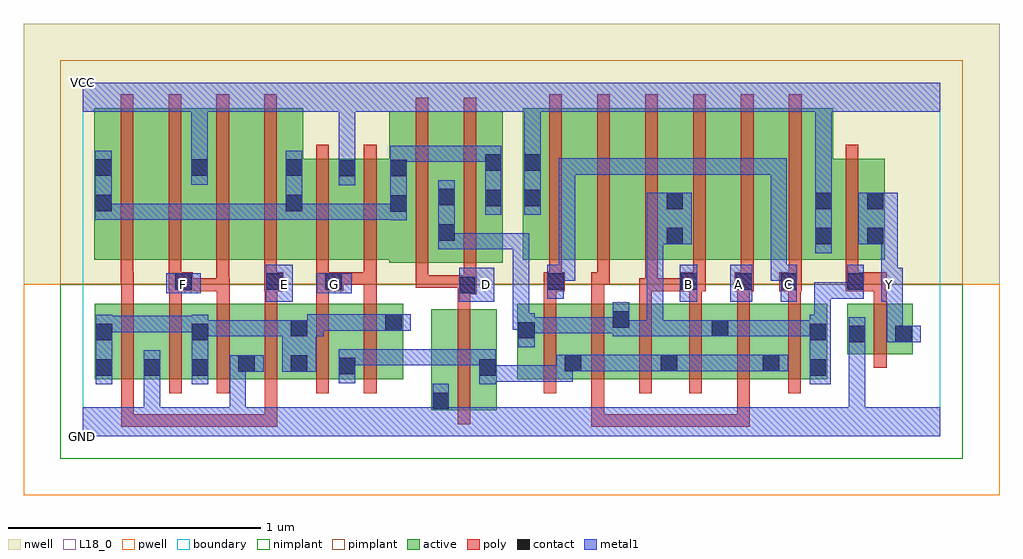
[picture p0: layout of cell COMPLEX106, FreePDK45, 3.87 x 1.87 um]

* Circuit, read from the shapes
.subckt COMPLEX106 A B C D E F G GND VCC Y
M1 GND E n1 VSUBS nfet w=0.3u l=0.05u m=2
M2 n1 F GND VSUBS nfet w=0.3u l=0.05u m=2
M3 n2 G n1 VSUBS nfet w=0.3u l=0.05u m=2
M4 n2 D GND VSUBS nfet w=0.4u l=0.05u
M5 n2 C n3 VSUBS nfet w=0.3u l=0.05u m=2
M6 n3 A n2 VSUBS nfet w=0.3u l=0.05u m=2
M7 n2 B n3 VSUBS nfet w=0.3u l=0.05u m=2
M8 Y n3 GND VSUBS nfet w=0.2u l=0.05u
M9 n4 E n5 n6 pfet w=0.6u l=0.05u
M10 VCC F n4 n6 pfet w=0.6u l=0.05u
M11 n7 F VCC n6 pfet w=0.6u l=0.05u
M12 n5 E n7 n6 pfet w=0.6u l=0.05u
M13 VCC G n5 n6 pfet w=0.4u l=0.05u m=2
M14 n3 D n5 n6 pfet w=0.6u l=0.05u m=2
M15 n8 C VCC n6 pfet w=0.6u l=0.05u
M16 n9 A n8 n6 pfet w=0.6u l=0.05u
M17 n3 B n9 n6 pfet w=0.6u l=0.05u
M18 n10 B n3 n6 pfet w=0.6u l=0.05u
M19 n11 A n10 n6 pfet w=0.6u l=0.05u
M20 VCC C n11 n6 pfet w=0.6u l=0.05u
M21 Y n3 VCC n6 pfet w=0.4u l=0.05u
.ends

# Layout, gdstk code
import gdstk
lib = gdstk.Library(unit=1e-6, precision=1e-09)
def R(c, l, rs):  # rectangles x0, y0, x1, y1
    for r in rs: c.add(gdstk.rectangle(r[:2], r[2:], *l))
def A(c, l, x, y, w, h, nx, ny, dx, dy):  # array of equal rectangles
    R(c, l, [(x+i*dx, y+j*dy, x+i*dx+w, y+j*dy+h) for i in range(nx) for j in range(ny)])
active = (1, 0)
pwell = (2, 0)
nwell = (3, 0)
nimplant = (4, 0)
pimplant = (5, 0)
poly = (9, 0)
contact = (10, 0)
metal1 = (11, 0)
L18_0 = (18, 0)
boundary = (235, 0)

complex106 = lib.new_cell('COMPLEX106')
R(complex106, active, [(1.382,0.102,1.642,0.502), (1.382,0.102,1.457,0.502), (1.567,0.147,1.642,0.502), (0.047,0.225,0.122,0.525), (0.047,0.225,0.312,0.525), (0.237,0.225,0.502,0.525), (0.237,0.225,0.312,0.437), (0.427,0.225,0.687,0.525), (0.427,0.225,0.502,0.517), (0.612,0.225,0.895,0.525), (0.612,0.225,0.687,0.437), (0.82,0.225,0.895,0.525), (0.82,0.225,1.085,0.525), (1.01,0.225,1.27,0.525), (1.01,0.225,1.085,0.405), (1.722,0.225,1.982,0.525), (1.907,0.225,2.172,0.525), (1.907,0.225,1.982,0.405), (2.097,0.225,2.362,0.525), (2.287,0.225,2.565,0.525), (2.287,0.225,2.362,0.517), (2.49,0.225,2.767,0.525), (2.692,0.225,2.952,0.525), (2.692,0.225,2.767,0.392), (2.877,0.225,2.952,0.525), (1.195,0.247,1.27,0.525), (1.722,0.247,1.797,0.525), (2.097,0.247,2.172,0.5), (2.49,0.247,2.565,0.465), (3.032,0.325,3.292,0.525), (3.032,0.325,3.107,0.525), (3.217,0.332,3.292,0.525), (1.215,0.687,1.48,1.287), (1.405,0.687,1.665,1.287), (1.59,0.687,1.665,1.2), (0.045,0.7,0.27,1.3), (0.045,0.7,0.15,1.2), (0.27,0.7,0.5,1.3), (0.425,0.7,0.65,1.3), (0.65,0.7,0.875,1.3), (0.8,0.7,0.875,1.2), (0.8,0.7,1.085,1.1), (1.01,0.7,1.29,1.1), (1.215,0.7,1.29,1.2), (1.745,0.7,1.97,1.3), (1.745,0.7,1.82,1.267), (1.97,0.7,2.16,1.3), (2.16,0.7,2.385,1.3), (2.31,0.7,2.54,1.3), (2.54,0.7,2.73,1.3), (2.73,0.7,2.975,1.3), (2.9,0.7,3.18,1.1), (3.105,0.7,3.18,1.057), (0.425,0.707,0.5,1.267), (1.405,0.707,1.48,1.07), (2.31,0.707,2.385,1.07), (2.9,0.755,2.975,1.057), (1.01,0.822,1.085,1.1)])
R(complex106, pwell, [(-0.235,-0.235,3.635,0.602)])
R(complex106, nwell, [(-0.235,0.602,3.635,1.635)])
R(complex106, nimplant, [(-0.09,-0.09,3.49,0.602)])
R(complex106, pimplant, [(-0.09,0.602,3.49,1.49)])
A(complex106, poly, 0.152, 0.17, 0.05, 0.41, 4, 1, 0.19, 0)
A(complex106, poly, 1.827, 0.17, 0.05, 0.41, 3, 1, 0.19, 0)
A(complex106, poly, 0.342, 0.53, 0.05, 0.095, 3, 1, 0.19, 0)
A(complex106, poly, 2.42, 0.6, 0.05, 0.095, 3, 1, 0.19, 0)
A(complex106, poly, 0.15, 0.645, 0.05, 0.71, 4, 1, 0.19, 0)
A(complex106, poly, 1.85, 0.645, 0.05, 0.71, 6, 1, 0.19, 0)
R(complex106, poly, [(0.152,0.037,0.202,0.22), (0.152,0.037,0.202,0.087), (0.152,0.037,0.202,0.087), (0.152,0.037,0.202,0.087), (0.152,0.037,0.335,0.087), (0.285,0.037,0.335,0.087), (0.285,0.037,0.637,0.087), (0.587,0.037,0.637,0.087), (0.587,0.037,0.637,0.087), (0.587,0.037,0.637,0.087), (0.587,0.037,0.772,0.087), (0.722,0.037,0.772,0.22), (0.722,0.037,0.772,0.087), (0.722,0.037,0.772,0.087), (0.722,0.037,0.772,0.087), (2.017,0.037,2.067,0.22), (2.017,0.037,2.067,0.087), (2.017,0.037,2.067,0.087), (2.017,0.037,2.067,0.087), (2.017,0.037,2.285,0.087), (2.235,0.037,2.285,0.087), (2.235,0.037,2.417,0.087), (2.367,0.037,2.417,0.087), (2.367,0.037,2.417,0.087), (2.367,0.037,2.417,0.087), (2.367,0.037,2.645,0.087), (2.595,0.037,2.645,0.22), (2.595,0.037,2.645,0.087), (2.595,0.037,2.645,0.087), (2.595,0.037,2.645,0.087), (1.487,0.047,1.537,0.557), (0.925,0.17,0.975,0.58), (1.115,0.17,1.165,0.58), (2.405,0.17,2.455,0.58), (2.595,0.17,2.645,0.58), (2.797,0.17,2.847,0.58), (3.137,0.27,3.187,0.58), (1.487,0.507,1.537,0.612), (0.152,0.53,0.202,0.65), (0.925,0.53,0.975,0.625), (1.115,0.53,1.165,0.65), (1.827,0.53,1.877,0.625), (2.017,0.53,2.067,0.65), (2.207,0.53,2.257,0.625), (2.405,0.53,2.455,0.625), (2.595,0.53,2.645,0.625), (2.797,0.53,2.847,0.625), (3.137,0.53,3.187,0.625), (1.487,0.562,1.562,0.637), (0.34,0.575,0.437,0.65), (0.387,0.575,0.437,0.625), (0.387,0.575,0.437,0.625), (0.387,0.575,0.58,0.625), (0.53,0.575,0.58,0.695), (0.53,0.575,0.582,0.625), (0.72,0.575,0.795,0.65), (0.925,0.575,1.032,0.65), (1.827,0.575,1.912,0.65), (2.207,0.575,2.28,0.625), (2.23,0.575,2.28,0.625), (2.23,0.575,2.28,0.625), (2.23,0.575,2.417,0.625), (2.23,0.575,2.28,0.695), (2.367,0.575,2.47,0.65), (2.585,0.575,2.66,0.65), (2.762,0.575,2.85,0.65), (3.025,0.575,3.187,0.65), (1.32,0.587,1.37,0.682), (1.32,0.587,1.37,0.637), (1.32,0.587,1.37,0.637), (1.32,0.587,1.37,0.637), (1.32,0.587,1.537,0.637), (1.51,0.587,1.56,0.682), (0.15,0.6,0.2,0.695), (0.15,0.6,0.202,0.65), (0.34,0.6,0.39,0.695), (0.72,0.6,0.77,0.695), (0.925,0.6,0.975,0.695), (0.982,0.6,1.032,0.65), (0.982,0.6,1.032,0.65), (0.982,0.6,1.165,0.65), (1.115,0.6,1.165,0.695), (1.115,0.6,1.165,0.65), (1.85,0.6,1.9,0.695), (2.017,0.6,2.09,0.65), (2.04,0.6,2.09,0.695), (3.025,0.6,3.075,0.695), (1.32,0.632,1.37,1.342), (1.51,0.632,1.56,1.342), (0.925,0.645,0.975,1.155), (1.115,0.645,1.165,1.155), (3.025,0.645,3.075,1.155)])
A(complex106, contact, 0.052, 0.24, 0.065, 0.065, 3, 1, 0.19, 0)
R(complex106, contact, [(1.387,0.107,1.452,0.172), (1.572,0.24,1.637,0.305), (2.882,0.24,2.947,0.305), (1.015,0.245,1.08,0.31), (0.617,0.255,0.682,0.32), (0.825,0.255,0.89,0.32), (1.912,0.257,1.977,0.322), (2.292,0.257,2.357,0.322), (2.697,0.257,2.762,0.322), (3.037,0.372,3.102,0.437), (3.222,0.372,3.287,0.437), (0.052,0.38,0.117,0.445), (0.432,0.38,0.497,0.445), (2.882,0.38,2.947,0.445), (1.727,0.387,1.792,0.452), (0.825,0.395,0.89,0.46), (2.495,0.395,2.56,0.46), (1.2,0.417,1.265,0.482), (2.102,0.43,2.167,0.495), (1.492,0.567,1.557,0.632), (0.367,0.58,0.432,0.645), (0.725,0.58,0.79,0.645), (0.962,0.58,1.027,0.645), (1.842,0.58,1.907,0.645), (2.372,0.58,2.437,0.645), (2.59,0.58,2.655,0.645), (2.767,0.58,2.832,0.645), (3.032,0.58,3.097,0.645), (2.315,0.76,2.38,0.825), (2.905,0.76,2.97,0.825), (3.11,0.76,3.175,0.825), (1.41,0.775,1.475,0.84), (1.22,0.89,1.285,0.955), (0.05,0.892,0.115,0.957), (0.805,0.892,0.87,0.957), (2.315,0.9,2.38,0.965), (2.905,0.9,2.97,0.965), (3.11,0.9,3.175,0.965), (1.595,0.912,1.66,0.977), (1.75,0.912,1.815,0.977), (1.41,0.915,1.475,0.98), (1.015,1.03,1.08,1.095), (1.22,1.03,1.285,1.095), (0.05,1.032,0.115,1.097), (0.43,1.032,0.495,1.097), (0.805,1.032,0.87,1.097), (1.595,1.052,1.66,1.117), (1.75,1.052,1.815,1.117)])
R(complex106, metal1, [(0,0,3.4,0.115), (0.242,0.05,0.307,0.115), (0.242,0.05,0.307,0.115), (0.242,0.05,0.307,0.27), (0.582,0.05,0.647,0.32), (1.387,0.05,1.452,0.137), (3.037,0.05,3.102,0.115), (3.037,0.05,3.102,0.115), (3.037,0.05,3.102,0.402), (1.387,0.072,1.452,0.207), (0.052,0.205,0.117,0.48), (0.242,0.205,0.307,0.34), (0.432,0.205,0.497,0.48), (1.572,0.205,1.637,0.34), (2.882,0.205,2.965,0.48), (1.015,0.21,1.08,0.345), (1.572,0.215,1.805,0.28), (1.74,0.215,1.805,0.28), (1.74,0.215,1.942,0.28), (1.877,0.215,1.942,0.322), (0.582,0.255,0.717,0.32), (0.582,0.255,0.647,0.32), (0.582,0.255,0.647,0.32), (0.79,0.255,0.925,0.46), (1.877,0.257,2.012,0.322), (1.877,0.257,1.942,0.322), (1.947,0.257,2.15,0.322), (2.085,0.257,2.15,0.322), (2.085,0.257,2.15,0.322), (2.085,0.257,2.15,0.322), (2.085,0.257,2.295,0.322), (2.23,0.257,2.295,0.322), (2.23,0.257,2.322,0.322), (2.257,0.257,2.392,0.322), (2.327,0.257,2.432,0.322), (2.367,0.257,2.432,0.322), (2.367,0.257,2.59,0.322), (2.525,0.257,2.59,0.322), (2.525,0.257,2.59,0.322), (2.525,0.257,2.59,0.322), (2.525,0.257,2.727,0.322), (2.662,0.257,2.797,0.322), (1.572,0.275,1.637,0.34), (1.572,0.275,1.637,0.345), (1.015,0.28,1.13,0.345), (1.065,0.28,1.13,0.345), (1.065,0.28,1.3,0.345), (1.235,0.28,1.3,0.345), (1.235,0.28,1.3,0.345), (1.235,0.28,1.3,0.345), (1.235,0.28,1.437,0.345), (1.372,0.28,1.437,0.345), (1.372,0.28,1.637,0.345), (3.037,0.337,3.102,0.472), (3.037,0.337,3.102,0.402), (3.037,0.337,3.102,0.402), (1.727,0.352,1.792,0.487), (3.187,0.372,3.252,0.597), (3.187,0.372,3.322,0.437), (0.432,0.395,0.497,0.46), (0.432,0.395,0.497,0.46), (0.432,0.395,0.717,0.46), (0.652,0.395,0.717,0.46), (0.652,0.395,0.717,0.46), (0.652,0.395,0.717,0.46), (0.652,0.395,0.855,0.46), (0.86,0.395,0.955,0.46), (0.89,0.395,0.955,0.482), (2.102,0.395,2.167,0.53), (2.102,0.395,2.295,0.46), (2.23,0.395,2.295,0.46), (2.23,0.395,2.302,0.46), (2.237,0.395,2.302,0.46), (2.237,0.395,2.452,0.46), (2.237,0.395,2.302,0.825), (2.387,0.395,2.452,0.46), (2.387,0.395,2.525,0.46), (2.46,0.395,2.595,0.46), (2.53,0.395,2.595,0.46), (2.53,0.395,2.595,0.46), (2.53,0.395,2.81,0.46), (2.745,0.395,2.81,0.46), (2.745,0.395,2.81,0.46), (2.745,0.395,2.81,0.46), (2.745,0.395,2.947,0.46), (1.727,0.407,2.012,0.472), (1.947,0.407,2.012,0.472), (1.947,0.407,2.012,0.472), (1.947,0.407,2.012,0.472), (1.947,0.407,2.15,0.472), (2.085,0.407,2.15,0.472), (2.085,0.407,2.167,0.472), (0.052,0.412,0.117,0.477), (0.052,0.412,0.117,0.477), (0.052,0.412,0.255,0.477), (0.19,0.412,0.255,0.477), (0.19,0.412,0.255,0.477), (0.19,0.412,0.255,0.477), (0.19,0.412,0.497,0.477), (2.9,0.415,2.965,0.61), (0.89,0.417,1.092,0.482), (1.027,0.417,1.092,0.482), (1.027,0.417,1.092,0.482), (1.027,0.417,1.092,0.482), (1.027,0.417,1.23,0.482), (1.165,0.417,1.3,0.482), (1.705,0.422,1.77,0.487), (1.705,0.422,1.77,0.487), (1.705,0.422,1.77,0.487), (1.705,0.422,1.792,0.487), (1.705,0.422,1.77,0.805), (0.725,0.532,0.832,0.68), (1.492,0.532,1.632,0.667), (2.367,0.532,2.437,0.68), (2.567,0.532,2.655,0.68), (2.767,0.532,2.832,0.68), (3.167,0.532,3.252,0.667), (1.842,0.545,1.907,0.68), (2.9,0.545,3.002,0.61), (2.9,0.545,2.965,0.61), (2.937,0.545,3.097,0.61), (2.937,0.545,3.002,0.61), (3.032,0.545,3.097,0.68), (0.332,0.567,0.467,0.645), (0.927,0.567,1.067,0.645), (3.167,0.602,3.232,0.825), (1.842,0.615,1.952,0.68), (1.887,0.615,1.952,0.68), (1.887,0.615,1.952,1.102), (2.727,0.615,2.792,0.68), (2.727,0.615,2.832,0.68), (2.727,0.615,2.792,1.102), (2.905,0.725,2.97,1), (1.41,0.74,1.475,0.805), (1.41,0.74,1.475,0.805), (1.41,0.74,1.475,1.015), (1.41,0.74,1.77,0.805), (1.705,0.74,1.77,0.805), (2.237,0.76,2.302,0.825), (2.237,0.76,2.302,0.825), (2.237,0.76,2.415,0.965), (3.075,0.76,3.232,0.965), (1.22,0.855,1.285,1.13), (0.05,0.857,0.115,0.922), (0.05,0.857,0.115,0.922), (0.05,0.857,0.115,1.132), (0.05,0.857,0.255,0.922), (0.19,0.857,0.255,0.922), (0.19,0.857,0.255,0.922), (0.19,0.857,0.255,0.922), (0.19,0.857,0.392,0.922), (0.327,0.857,0.392,0.922), (0.327,0.857,0.392,0.922), (0.327,0.857,0.392,0.922), (0.327,0.857,0.717,0.922), (0.652,0.857,0.717,0.922), (0.652,0.857,0.717,0.922), (0.652,0.857,0.717,0.922), (0.652,0.857,0.87,0.922), (0.805,0.857,0.87,0.922), (0.805,0.857,0.87,0.922), (0.805,0.857,0.87,1.132), (0.805,0.857,1.092,0.922), (1.027,0.857,1.092,0.922), (1.027,0.857,1.092,0.922), (1.027,0.857,1.092,0.922), (1.027,0.857,1.285,0.922), (1.595,0.877,1.66,1.152), (1.75,0.877,1.815,1.152), (2.905,0.935,2.97,1.35), (1.015,0.995,1.08,1.13), (0.43,0.997,0.495,1.132), (1.887,1.037,1.952,1.102), (1.887,1.037,2.15,1.102), (2.085,1.037,2.15,1.102), (2.085,1.037,2.15,1.102), (2.085,1.037,2.15,1.102), (2.085,1.037,2.15,1.102), (2.085,1.037,2.15,1.102), (2.085,1.037,2.287,1.102), (2.222,1.037,2.287,1.102), (2.222,1.037,2.387,1.102), (2.322,1.037,2.387,1.102), (2.322,1.037,2.432,1.102), (2.367,1.037,2.432,1.102), (2.367,1.037,2.59,1.102), (2.525,1.037,2.59,1.102), (2.525,1.037,2.59,1.102), (2.525,1.037,2.59,1.102), (2.525,1.037,2.59,1.102), (2.525,1.037,2.59,1.102), (2.525,1.037,2.792,1.102), (2.727,1.037,2.792,1.102), (1.015,1.065,1.08,1.13), (1.015,1.065,1.08,1.13), (1.015,1.065,1.08,1.35), (1.22,1.065,1.285,1.152), (0.43,1.067,0.495,1.35), (1.22,1.087,1.285,1.152), (1.22,1.087,1.285,1.152), (1.22,1.087,1.285,1.152), (1.22,1.087,1.5,1.152), (1.435,1.087,1.5,1.152), (1.435,1.087,1.655,1.152), (1.59,1.087,1.655,1.152), (1.59,1.087,1.66,1.152), (1.75,1.087,1.815,1.35), (0,1.285,3.4,1.4)])
A(complex106, L18_0, 2.367, 0.567, 0.065, 0.065, 3, 1, 0.2, 0)
R(complex106, L18_0, [(0,0,3.4,0.115), (0.242,0.05,0.307,0.115), (0.242,0.05,0.307,0.115), (0.242,0.05,0.307,0.27), (0.582,0.05,0.647,0.32), (1.387,0.05,1.452,0.137), (3.037,0.05,3.102,0.115), (3.037,0.05,3.102,0.115), (3.037,0.05,3.102,0.402), (1.387,0.072,1.452,0.207), (0.242,0.205,0.307,0.34), (0.582,0.255,0.647,0.32), (0.582,0.255,0.647,0.32), (0.582,0.255,0.717,0.32), (3.037,0.337,3.102,0.402), (3.037,0.337,3.102,0.402), (3.037,0.337,3.102,0.472), (3.187,0.372,3.322,0.437), (3.187,0.372,3.252,0.597), (0.725,0.532,0.832,0.68), (1.492,0.532,1.632,0.667), (2.367,0.532,2.437,0.68), (2.567,0.532,2.655,0.68), (2.767,0.532,2.832,0.68), (3.167,0.532,3.252,0.667), (1.842,0.545,1.907,0.68), (0.332,0.567,0.467,0.645), (0.367,0.567,0.432,0.632), (0.767,0.567,0.832,0.632), (0.927,0.567,1.067,0.645), (0.967,0.567,1.032,0.632), (1.567,0.567,1.632,0.632), (3.167,0.567,3.232,0.632), (3.167,0.602,3.232,0.825), (1.842,0.615,1.952,0.68), (1.887,0.615,1.952,0.68), (1.887,0.615,1.952,1.102), (2.727,0.615,2.792,0.68), (2.727,0.615,2.792,1.102), (2.727,0.615,2.832,0.68), (2.905,0.725,2.97,1), (3.075,0.76,3.232,0.965), (1.75,0.877,1.815,1.152), (2.905,0.935,2.97,1.35), (1.015,0.995,1.08,1.13), (0.43,0.997,0.495,1.132), (1.887,1.037,1.952,1.102), (1.887,1.037,2.15,1.102), (2.085,1.037,2.15,1.102), (2.085,1.037,2.15,1.102), (2.085,1.037,2.15,1.102), (2.085,1.037,2.15,1.102), (2.085,1.037,2.15,1.102), (2.085,1.037,2.287,1.102), (2.222,1.037,2.287,1.102), (2.222,1.037,2.387,1.102), (2.322,1.037,2.387,1.102), (2.322,1.037,2.432,1.102), (2.367,1.037,2.432,1.102), (2.367,1.037,2.59,1.102), (2.525,1.037,2.59,1.102), (2.525,1.037,2.59,1.102), (2.525,1.037,2.59,1.102), (2.525,1.037,2.59,1.102), (2.525,1.037,2.59,1.102), (2.525,1.037,2.792,1.102), (2.727,1.037,2.792,1.102), (1.015,1.065,1.08,1.13), (1.015,1.065,1.08,1.13), (1.015,1.065,1.08,1.35), (0.43,1.067,0.495,1.35), (1.75,1.087,1.815,1.35), (0,1.285,3.4,1.4)])
R(complex106, boundary, [(0,0,3.4,1.4)])
complex106.add(gdstk.Label('A', (2.6,0.6), layer=11, texttype=0))
complex106.add(gdstk.Label('B', (2.4,0.6), layer=11, texttype=0))
complex106.add(gdstk.Label('C', (2.8,0.6), layer=11, texttype=0))
complex106.add(gdstk.Label('D', (1.6,0.6), layer=11, texttype=0))
complex106.add(gdstk.Label('E', (0.8,0.6), layer=11, texttype=0))
complex106.add(gdstk.Label('F', (0.4,0.6), layer=11, texttype=0))
complex106.add(gdstk.Label('G', (1,0.6), layer=11, texttype=0))
complex106.add(gdstk.Label('Y', (3.2,0.6), layer=11, texttype=0))
complex106.add(gdstk.Label('VCC', (0,1.4), layer=11, texttype=0))
complex106.add(gdstk.Label('GND', (0,0), layer=11, texttype=0))

lib.write_gds('COMPLEX106.gds')
